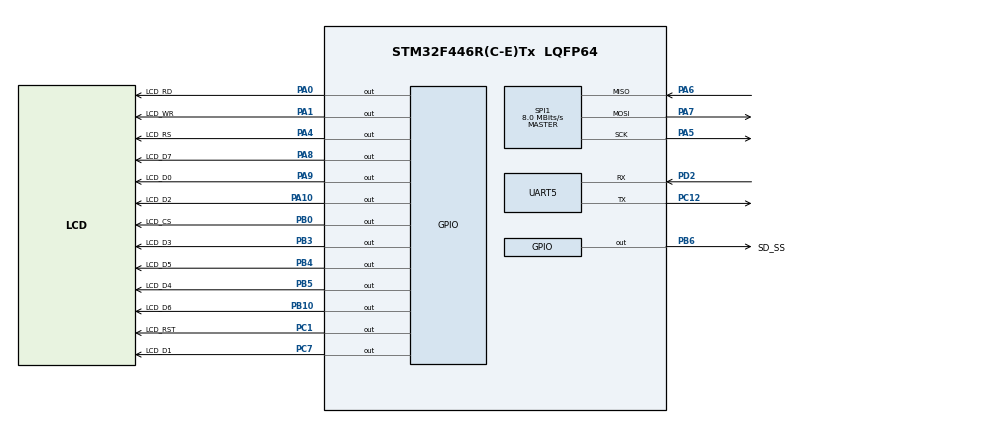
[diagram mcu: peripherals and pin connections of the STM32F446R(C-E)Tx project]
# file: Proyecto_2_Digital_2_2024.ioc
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FATFS._MAX_SS=4096
FATFS._USE_LFN=1
Mcu.Family=STM32F4
Mcu.Name=STM32F446R(C-E)Tx
Mcu.Package=LQFP64
NVIC.PriorityGroup=NVIC_PRIORITYGROUP_4
NVIC.UART5_IRQn=true\:0\:0\:false\:false\:true\:true\:true\:true
PA0-WKUP.GPIO_Label=LCD_RD
PA0-WKUP.Signal=GPIO_Output
PA1.GPIO_Label=LCD_WR
PA1.Signal=GPIO_Output
PA10.GPIO_Label=LCD_D2
PA10.Signal=GPIO_Output
PA4.GPIO_Label=LCD_RS
PA4.Signal=GPIO_Output
PA5.Mode=Full_Duplex_Master
PA5.Signal=SPI1_SCK
PA6.Mode=Full_Duplex_Master
PA6.Signal=SPI1_MISO
PA7.Mode=Full_Duplex_Master
PA7.Signal=SPI1_MOSI
PA8.GPIO_Label=LCD_D7
PA8.Signal=GPIO_Output
PA9.GPIO_Label=LCD_D0
PA9.Signal=GPIO_Output
PB0.GPIO_Label=LCD_CS
PB0.PinState=GPIO_PIN_RESET
PB0.Signal=GPIO_Output
PB10.GPIO_Label=LCD_D6
PB10.Signal=GPIO_Output
PB3.GPIO_Label=LCD_D3
PB3.Signal=GPIO_Output
PB4.GPIO_Label=LCD_D5
PB4.Signal=GPIO_Output
PB5.GPIO_Label=LCD_D4
PB5.Signal=GPIO_Output
PB6.GPIO_Label=SD_SS
PB6.GPIO_Speed=GPIO_SPEED_FREQ_MEDIUM
PB6.PinState=GPIO_PIN_SET
PB6.Signal=GPIO_Output
PC1.GPIO_Label=LCD_RST
PC1.Signal=GPIO_Output
PC12.Mode=Asynchronous
PC12.Signal=UART5_TX
PC7.GPIO_Label=LCD_D1
PC7.Signal=GPIO_Output
PD2.Mode=Asynchronous
PD2.Signal=UART5_RX
PH0-OSC_IN.Mode=HSE-External-Oscillator
PH0-OSC_IN.Signal=RCC_OSC_IN
PH1-OSC_OUT.Mode=HSE-External-Oscillator
PH1-OSC_OUT.Signal=RCC_OSC_OUT
ProjectManager.HeapSize=0x200
ProjectManager.StackSize=0x400
ProjectManager.TargetToolchain=STM32CubeIDE
RCC.CortexFreq_Value=16000000
RCC.USBFreq_Value=96000000
RCC.VCOOutputFreq_Value=192000000
SPI1.BaudRatePrescaler=SPI_BAUDRATEPRESCALER_2
SPI1.CalculateBaudRate=8.0 MBits/s
SPI1.Direction=SPI_DIRECTION_2LINES
SPI1.Mode=SPI_MODE_MASTER
SPI1.VirtualType=VM_MASTER
UART5.VirtualMode=Asynchronous
VP_FATFS_VS_Generic.Mode=User_defined
board=custom

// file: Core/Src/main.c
/* USER CODE BEGIN Header */
/**
   ******************************************************************************
 Universidad Del Valle De Guatemalaa
 IE2023: Electrónica digital 2
 Autor: Samuel Tortola - 22094, Alan Gomez - 22115
 Proyecto: Video juego
 Hardware: STM32
 Creado: 30/09/2024
 Última modificación: 3/10/2024
******************************************************************************
 **/

/* USER CODE END Header */
#include "main.h"
#include "fatfs.h"

/* USER CODE BEGIN Includes */
#include "ili9341.h"
#include "stm32f4xx_hal.h"      // Para la HAL del STM32
#include "stm32f4xx_hal_spi.h"  // Para el manejo de SPI
#include "string.h"
#include "stdio.h"
#include <stdlib.h>

/* USER CODE END Includes */

/* USER CODE BEGIN PD */
SPI_HandleTypeDef hspi1;
FATFS fs;
FATFS *pfs;
FIL fil;
FRESULT fres;
DWORD fre_clust;
uint32_t totalSpace,freeSpace;
char buffer[100];

/* USER CODE END PD */

SPI_HandleTypeDef hspi1;

UART_HandleTypeDef huart5;

/* USER CODE BEGIN PV */
extern uint8_t car1[];
extern uint8_t car2[];
extern uint8_t car3[];
extern uint8_t car4[];
extern uint8_t car5[];
extern uint8_t car6[];
extern uint8_t car7[];
extern uint8_t car8[];
extern uint8_t car9[];
extern uint8_t ca10[];
extern uint8_t ca11[];
extern uint8_t ca12[];
extern uint8_t ca13[];
extern uint8_t ca14[];
extern uint8_t ca15[];
extern uint8_t ca16[];
extern uint8_t ca17[];
extern uint8_t ca18[];

extern uint8_t fondo[];

// Array de punteros a los arrays extern
uint8_t* cars[] = {car1, car2, car3, car4, car5, car6, car7, car8, car9, ca10, ca11, ca12, ca13, ca14, ca15, ca16, ca17, ca18};
uint8_t tamano[]={68,49,47,49,39,36,45,39,40,49,39,41,43,41,40,40,41,41};

uint8_t rx_data[1]; // Solo para recibir byte por byte
uint8_t activa = 0;

#define MAX_FILES 70    //Cantidad máxima de archivos permitidos
#define FILENAME_MAX_LEN 50    //Cantidad máxima de carcateres permitidos por nombre

char file_list[MAX_FILES][FILENAME_MAX_LEN];  // Lista de archivos
int file_count = 0;  // Número de archivos

FIL fil;  // Archivo
char file_name[50];  // Nombre del archivo
int receiving_file = 0;  // Flag para indicar si estamos recibiendo un archivo
FRESULT fres;

#define CHUNK_SIZE 512  // Leer la imagen en fragmentos de 512 bytes
#define IMAGE_WIDTH 240
#define IMAGE_HEIGHT 320
#define TOTAL_BYTES (IMAGE_WIDTH * IMAGE_HEIGHT * 2)  // 153600 bytes en total para RGB565

/* USER CODE END PV */

void SystemClock_Config(void);
static void MX_GPIO_Init(void);
static void MX_SPI1_Init(void);
static void MX_UART5_Init(void);

/* USER CODE BEGIN 0 */
void transmit_uart(char *data);

void load_image_from_sd_in_chunks(const char* filename);

/* USER CODE END 0 */

int main(void)
{

  /* MCU Configuration--------------------------------------------------------*/

  /* Reset of all peripherals, Initializes the Flash interface and the Systick. */
  HAL_Init();

  /* Configure the system clock */
  SystemClock_Config();

  /* Initialize all configured peripherals */
  MX_GPIO_Init();
  MX_SPI1_Init();
  MX_FATFS_Init();
  MX_UART5_Init();
  /* USER CODE BEGIN 2 */

  // Montar SD

   fres = f_mount(&fs,"/" , 0);
   if(fres == FR_OK){
       transmit_uart("Micro SD is mounted successfully\n\n\n\n");
   } else {
       transmit_uart("Micro SD is mounted bad\n\n\n\n");
   }

   HAL_UART_Receive_IT(&huart5,rx_data, 1);  // Empezar la recepción por UART5 en modo interrupción

       // Mostrar la imagen en la pantalla
    LCD_Init();
    LCD_Clear(0x00);

    //car1:20x68
    //car2:20x49
    //car3:20x47
    //car4:20x49
    //car5:20x39
    //car6:2036
    //car7:20x45
    //car8:20x39
    //car9:20x40
    //car10:20x49
    //car11:20x39
    //car12:20x41
    //car13:20x43
    //car14:20x41
    //car15:20x41
    //car16:20x40
    //car16:20x40
    //car17:20x41
    //car18:20x41

//    for(int i=0; i<=17; i++){
//    LCD_Bitmap(50,150,20,tamano[i], cars[i]);
 //   HAL_Delay(1000);
   // }

//    LCD_Bitmap(0, 0, 240, 320, fondo);

    load_image_from_sd_in_chunks("fondo.bin");

    for(int i=0; i<=320; i++){
       LCD_Bitmap(50,i,20,tamano[0], cars[0]);
       HAL_Delay(500);
        }

  /* USER CODE END 2 */

  /* Infinite loop */
	while (1) {

    /* USER CODE BEGIN 3 */

		if(activa == 1){
			LCD_Clear(0x00);
			FillRect(50, 60, 20, 20, 0xF800);
			FillRect(70, 60, 20, 20, 0x07E0);
			FillRect(90, 60, 20, 20, 0x001F);
			activa = 0;
		}

		else if(activa == 2){
			LCD_Clear(0x00);

			//LCD_Bitmap(0, 0, 320, 240, fondo);
		//	LCD_Bitmap(0, 0, 240, 320, fondo);
			activa = 0;
			}
	}
  /* USER CODE END 3 */
}

void SystemClock_Config(void)
{
  RCC_OscInitTypeDef RCC_OscInitStruct = {0};
  RCC_ClkInitTypeDef RCC_ClkInitStruct = {0};

  /** Configure the main internal regulator output voltage
  */
  __HAL_RCC_PWR_CLK_ENABLE();
  __HAL_PWR_VOLTAGESCALING_CONFIG(PWR_REGULATOR_VOLTAGE_SCALE3);

  /** Initializes the RCC Oscillators according to the specified parameters
  * in the RCC_OscInitTypeDef structure.
  */
  RCC_OscInitStruct.OscillatorType = RCC_OSCILLATORTYPE_HSI;
  RCC_OscInitStruct.HSIState = RCC_HSI_ON;
  RCC_OscInitStruct.HSICalibrationValue = RCC_HSICALIBRATION_DEFAULT;
  RCC_OscInitStruct.PLL.PLLState = RCC_PLL_NONE;
  if (HAL_RCC_OscConfig(&RCC_OscInitStruct) != HAL_OK)
  {
    Error_Handler();
  }

  /** Initializes the CPU, AHB and APB buses clocks
  */
  RCC_ClkInitStruct.ClockType = RCC_CLOCKTYPE_HCLK|RCC_CLOCKTYPE_SYSCLK
                              |RCC_CLOCKTYPE_PCLK1|RCC_CLOCKTYPE_PCLK2;
  RCC_ClkInitStruct.SYSCLKSource = RCC_SYSCLKSOURCE_HSI;
  RCC_ClkInitStruct.AHBCLKDivider = RCC_SYSCLK_DIV1;
  RCC_ClkInitStruct.APB1CLKDivider = RCC_HCLK_DIV1;
  RCC_ClkInitStruct.APB2CLKDivider = RCC_HCLK_DIV1;

  if (HAL_RCC_ClockConfig(&RCC_ClkInitStruct, FLASH_LATENCY_0) != HAL_OK)
  {
    Error_Handler();
  }
}

static void MX_SPI1_Init(void)
{

  /* SPI1 parameter configuration*/
  hspi1.Instance = SPI1;
  hspi1.Init.Mode = SPI_MODE_MASTER;
  hspi1.Init.Direction = SPI_DIRECTION_2LINES;
  hspi1.Init.DataSize = SPI_DATASIZE_8BIT;
  hspi1.Init.CLKPolarity = SPI_POLARITY_LOW;
  hspi1.Init.CLKPhase = SPI_PHASE_1EDGE;
  hspi1.Init.NSS = SPI_NSS_SOFT;
  hspi1.Init.BaudRatePrescaler = SPI_BAUDRATEPRESCALER_2;
  hspi1.Init.FirstBit = SPI_FIRSTBIT_MSB;
  hspi1.Init.TIMode = SPI_TIMODE_DISABLE;
  hspi1.Init.CRCCalculation = SPI_CRCCALCULATION_DISABLE;
  hspi1.Init.CRCPolynomial = 10;
  if (HAL_SPI_Init(&hspi1) != HAL_OK)
  {
    Error_Handler();
  }

}

static void MX_UART5_Init(void)
{

  huart5.Instance = UART5;
  huart5.Init.BaudRate = 115200;
  huart5.Init.WordLength = UART_WORDLENGTH_8B;
  huart5.Init.StopBits = UART_STOPBITS_1;
  huart5.Init.Parity = UART_PARITY_NONE;
  huart5.Init.Mode = UART_MODE_TX_RX;
  huart5.Init.HwFlowCtl = UART_HWCONTROL_NONE;
  huart5.Init.OverSampling = UART_OVERSAMPLING_16;
  if (HAL_UART_Init(&huart5) != HAL_OK)
  {
    Error_Handler();
  }

}

static void MX_GPIO_Init(void)
{
  GPIO_InitTypeDef GPIO_InitStruct = {0};

  /* GPIO Ports Clock Enable */
  __HAL_RCC_GPIOH_CLK_ENABLE();
  __HAL_RCC_GPIOC_CLK_ENABLE();
  __HAL_RCC_GPIOA_CLK_ENABLE();
  __HAL_RCC_GPIOB_CLK_ENABLE();
  __HAL_RCC_GPIOD_CLK_ENABLE();

  /*Configure GPIO pin Output Level */
  HAL_GPIO_WritePin(GPIOC, LCD_RST_Pin|LCD_D1_Pin, GPIO_PIN_RESET);

  /*Configure GPIO pin Output Level */
  HAL_GPIO_WritePin(GPIOA, LCD_RD_Pin|LCD_WR_Pin|LCD_RS_Pin|LCD_D7_Pin
                          |LCD_D0_Pin|LCD_D2_Pin, GPIO_PIN_RESET);

  /*Configure GPIO pin Output Level */
  HAL_GPIO_WritePin(GPIOB, LCD_CS_Pin|LCD_D6_Pin|LCD_D3_Pin|LCD_D5_Pin
                          |LCD_D4_Pin, GPIO_PIN_RESET);

  /*Configure GPIO pin Output Level */
  HAL_GPIO_WritePin(SD_SS_GPIO_Port, SD_SS_Pin, GPIO_PIN_SET);

  /*Configure GPIO pins : LCD_RST_Pin LCD_D1_Pin */
  GPIO_InitStruct.Pin = LCD_RST_Pin|LCD_D1_Pin;
  GPIO_InitStruct.Mode = GPIO_MODE_OUTPUT_PP;
  GPIO_InitStruct.Pull = GPIO_NOPULL;
  GPIO_InitStruct.Speed = GPIO_SPEED_FREQ_LOW;
  HAL_GPIO_Init(GPIOC, &GPIO_InitStruct);

  /*Configure GPIO pins : LCD_RD_Pin LCD_WR_Pin LCD_RS_Pin LCD_D7_Pin
                           LCD_D0_Pin LCD_D2_Pin */
  GPIO_InitStruct.Pin = LCD_RD_Pin|LCD_WR_Pin|LCD_RS_Pin|LCD_D7_Pin
                          |LCD_D0_Pin|LCD_D2_Pin;
  GPIO_InitStruct.Mode = GPIO_MODE_OUTPUT_PP;
  GPIO_InitStruct.Pull = GPIO_NOPULL;
  GPIO_InitStruct.Speed = GPIO_SPEED_FREQ_LOW;
  HAL_GPIO_Init(GPIOA, &GPIO_InitStruct);

  /*Configure GPIO pins : LCD_CS_Pin LCD_D6_Pin LCD_D3_Pin LCD_D5_Pin
                           LCD_D4_Pin */
  GPIO_InitStruct.Pin = LCD_CS_Pin|LCD_D6_Pin|LCD_D3_Pin|LCD_D5_Pin
                          |LCD_D4_Pin;
  GPIO_InitStruct.Mode = GPIO_MODE_OUTPUT_PP;
  GPIO_InitStruct.Pull = GPIO_NOPULL;
  GPIO_InitStruct.Speed = GPIO_SPEED_FREQ_LOW;
  HAL_GPIO_Init(GPIOB, &GPIO_InitStruct);

  /*Configure GPIO pin : SD_SS_Pin */
  GPIO_InitStruct.Pin = SD_SS_Pin;
  GPIO_InitStruct.Mode = GPIO_MODE_OUTPUT_PP;
  GPIO_InitStruct.Pull = GPIO_NOPULL;
  GPIO_InitStruct.Speed = GPIO_SPEED_FREQ_MEDIUM;
  HAL_GPIO_Init(SD_SS_GPIO_Port, &GPIO_InitStruct);

}

/* USER CODE BEGIN 4 */

void transmit_uart(char *data) {
    HAL_UART_Transmit(&huart5, (uint8_t *)data, strlen(data), HAL_MAX_DELAY);
}

void HAL_UART_RxCpltCallback(UART_HandleTypeDef *huart)
{

	 if (huart->Instance == UART5) // Verificar si la interrupción es de UART1
	  {

		 if (rx_data[0] == '1'){
			 activa = 1;
		}

		 else if (rx_data[0] == '2'){
		 		 activa = 2;
		 }

	  }

	 // Volver a habilitar la recepción por UART1
	 	   HAL_UART_Receive_IT(&huart5, rx_data, 1);
}

void load_image_from_sd_in_chunks(const char* filename) {
    FIL fil;
    UINT bytes_read;
    FRESULT fres;
    uint8_t chunk_buffer[CHUNK_SIZE];  // Pequeño buffer para leer fragmentos de la SD
    uint32_t total_bytes_read = 0;

    // Abrir el archivo desde la SD
    fres = f_open(&fil, filename, FA_READ);
    if (fres != FR_OK) {
        transmit_uart("Error al abrir el archivo en la SD\n");
        return;
    }

    // Configurar la ventana de la pantalla para toda el área (240x320)
    SetWindows(0, 0, IMAGE_WIDTH - 1, IMAGE_HEIGHT - 1);

    // Leer la imagen en bloques y transmitir a la pantalla
    while (total_bytes_read < TOTAL_BYTES) {
        fres = f_read(&fil, chunk_buffer, CHUNK_SIZE, &bytes_read);
        if (fres != FR_OK || bytes_read == 0) {
            transmit_uart("Error al leer la imagen desde la SD\n");
            break;
        }

        // Enviar los datos leídos a la pantalla
        for (int i = 0; i < bytes_read; i += 2) {
            LCD_DATA(chunk_buffer[i]);      // Primer byte del color (RGB565)
            LCD_DATA(chunk_buffer[i + 1]);  // Segundo byte del color
        }

        total_bytes_read += bytes_read;
    }

    // Cerrar el archivo
    f_close(&fil);
    transmit_uart("Imagen cargada desde la SD en fragmentos\n");
}

/* USER CODE END 4 */

void Error_Handler(void)
{
	__disable_irq();
	while (1) {
	}
}
